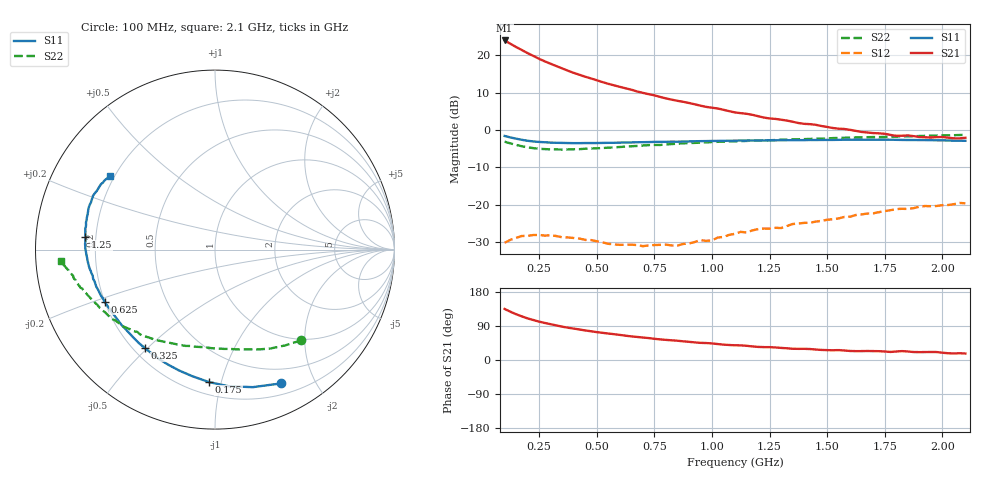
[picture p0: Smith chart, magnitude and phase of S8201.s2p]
!  POLYFET RF DEVICES
!  S PARAMETERS FOR
!  S8201
!  VDS=28, IDQ=200MA
! S2A1Die, AP pkg, VDS=28VDC, IDQ=200ma, Vgsth=3.17Vdc
! Date: Thu Sep 24 14:28:25 1998
# MHZ  S  MA  R  50.0000
! SCATTERING PARAMETERS :
! Freq=MHz Mag[s11] Ang[s11] Mag[s21] Ang[s21] Mag[s12] Ang[s12] Mag[s22] Ang[s22]
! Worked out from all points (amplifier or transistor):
!   81 points, 100 MHz to 2.1 GHz, reference 50 ohm
!   highest |S21| = 23.9 dB at 100 MHz (marker M1)
!   |S21| within 3 dB of that: start of sweep to 188.2 MHz
!   unconditionally stable (mu >= 1): 517.8 MHz to end of sweep
!   at 425 MHz: K = 0.74, MSG = 21.9 dB, |S12| = -29.0 dB
!   at 1.1 GHz: K = 1.68, MAG = 11.4 dB, |S12| = -27.7 dB
!   at 2.1 GHz: K = 1.16, MAG = 6.3 dB, |S12| = -19.6 dB
!   S11 on the Smith chart (normalised r, x): 100 MHz: 0.32, -1.56; 175 MHz: 0.28, -0.91; 325 MHz: 0.24, -0.49; 625 MHz: 0.20, -0.22; 1.25 GHz: 0.16, +0.05; 2.1 GHz: 0.18, +0.31
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100  0.8311 -63.8  15.69 134.8  0.0311 45.2  0.6977 -46.4
125  0.7948 -74.6  14.16 127.4  0.03408 38.7  0.6618 -53.7
150  0.7648 -84.4  12.81 120.8  0.03622 34.6  0.6316 -60.8
175  0.7386 -92.6  11.68 115.1  0.03836 29.8  0.6058 -66.7
200  0.7168 -100.1  10.62 109.7  0.0385 26.8  0.5847 -72.0
225  0.7026 -106.6  9.737 105.5  0.03954 24.1  0.572 -76.6
250  0.6918 -112.3  8.907 101.2  0.03955 22.0  0.5603 -81.1
275  0.6851 -117.0  8.233 97.7  0.03881 20.5  0.5552 -85.1
325  0.6736 -125.4  7.122 91.2  0.03828 17.1  0.5493 -92.3
375  0.6687 -132.3  6.186 85.2  0.03665 16.9  0.5488 -98.7
450  0.6688 -140.7  5.136 77.9  0.034 17.5  0.5616 -107.2
500  0.6689 -145.4  4.616 73.5  0.03264 20.5  0.5689 -111.9
550  0.6732 -149.5  4.134 69.8  0.03014 23.1  0.58 -116.8
625  0.6802 -154.8  3.603 64.2  0.02933 29.1  0.5993 -122.5
675  0.6856 -158.1  3.265 60.8  0.02905 33.9  0.6117 -126.5
775  0.6932 -163.9  2.762 54.4  0.02919 43.5  0.6302 -133.3
950  0.7088 -172.6  2.112 45.2  0.03377 62.4  0.677 -143.4
1100  0.7198 -179.3  1.715 38.9  0.04103 72.5  0.7044 -150.1
1250  0.7256 174.4  1.425 33.9  0.04813 74.0  0.7296 -155.8
1450  0.734 167.3  1.173 27.7  0.05967 82.4  0.7634 -162.1
1775  0.7411 155.4  0.8582 21.3  0.08474 82.3  0.8116 -170.3
2100  0.7163 145.1  0.7871 17.1  0.1048 77.4  0.8606 -175.9
